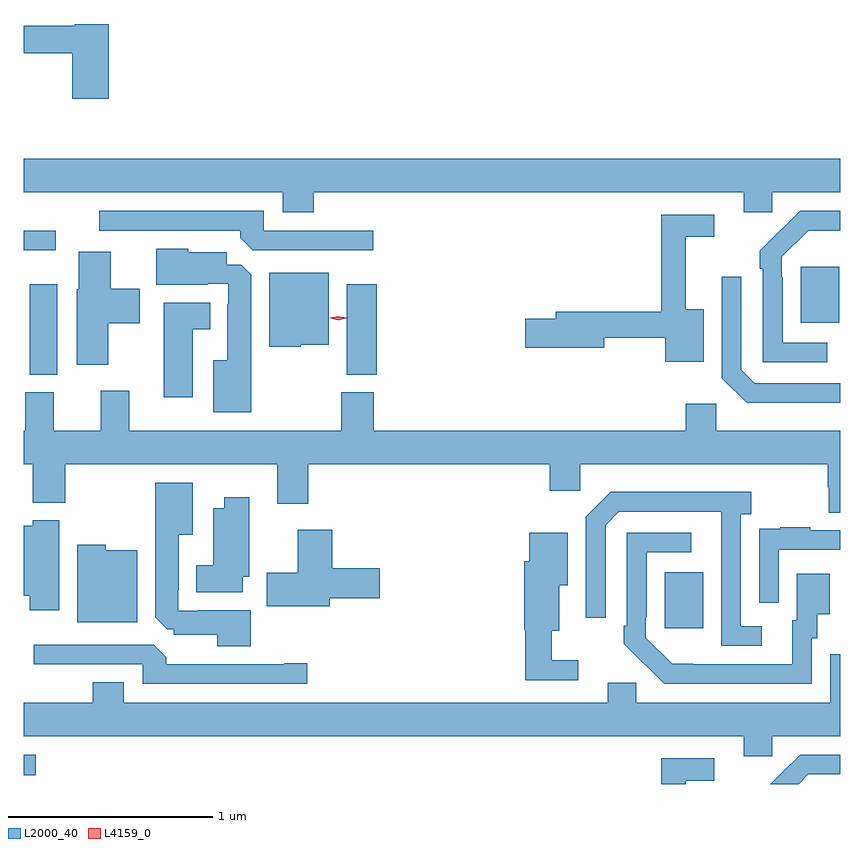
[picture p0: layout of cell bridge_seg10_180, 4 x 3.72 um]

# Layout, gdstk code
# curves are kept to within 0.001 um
import gdstk
lib = gdstk.Library(unit=1e-6, precision=1e-09)
def R(c, l, rs):  # rectangles x0, y0, x1, y1
    for r in rs: c.add(gdstk.rectangle(r[:2], r[2:], *l))
def P(c, l, *ps):  # polygons
    for p in ps: c.add(gdstk.Polygon(p, *l))
L2000_40 = (2000, 40)
L4159_0 = (4159, 0)

bridge_seg10_180 = lib.new_cell('bridge_seg10_180')
R(bridge_seg10_180, L2000_40, [(167.097,1288.135,167.155,1288.236), (170.237,1288.857,170.425,1289.131), (167.126,1290.097,167.26,1290.541), (168.68,1290.097,168.827,1290.541), (170.903,1290.353,171.091,1290.628), (167.097,1290.708,167.254,1290.804)])
P(bridge_seg10_180, L2000_40, [(167.513,1291.816),(167.346,1291.816),(167.346,1291.808),(167.097,1291.808),(167.097,1291.672),(167.335,1291.672),(167.335,1291.449),(167.513,1291.449)],
  [(168.518,1290.992),(170.624,1290.992),(170.624,1290.894),(170.763,1290.894),(170.763,1290.992),(171.097,1290.992),(171.097,1291.156),(167.097,1291.156),(167.097,1290.992),(168.365,1290.992),(168.365,1290.893),(168.518,1290.893)],
  [(168.808,1290.804),(168.273,1290.804),(168.273,1290.9),(167.466,1290.9),(167.466,1290.804),(168.158,1290.804),(168.158,1290.77),(168.219,1290.708),(168.808,1290.708)],
  [(171.034,1290.255),(170.814,1290.255),(170.814,1290.575),(170.811,1290.575),(170.811,1290.675),(170.94,1290.804),(171.097,1290.804),(171.097,1290.9),(170.9,1290.9),(170.703,1290.705),(170.703,1290.617),(170.718,1290.617),(170.718,1290.159),(171.034,1290.159)],
  [(170.428,1290.418),(170.339,1290.418),(170.339,1290.774),(170.479,1290.774),(170.479,1290.882),(170.221,1290.882),(170.221,1290.407),(169.703,1290.407),(169.703,1290.371),(169.554,1290.371),(169.554,1290.229),(169.942,1290.229),(169.942,1290.279),(170.24,1290.279),(170.24,1290.161),(170.428,1290.161)],
  [(168.211,1290.587),(168.162,1290.636),(168.091,1290.636),(168.091,1290.697),(167.904,1290.697),(167.904,1290.715),(167.747,1290.715),(167.747,1290.539),(167.999,1290.539),(167.999,1290.543),(168.099,1290.543),(168.099,1290.443),(168.095,1290.443),(168.095,1290.169),(168.026,1290.169),(168.026,1289.915),(168.211,1289.915)],
  [(167.512,1290.351),(167.665,1290.351),(167.665,1290.52),(167.524,1290.52),(167.524,1290.7),(167.366,1290.7),(167.366,1290.516),(167.357,1290.516),(167.357,1290.147),(167.512,1290.147)],
  [(168.453,1290.245),(168.592,1290.245),(168.592,1290.598),(168.299,1290.598),(168.299,1290.236),(168.453,1290.236)],
  [(171.097,1290.057),(170.679,1290.057),(170.613,1290.123),(170.613,1290.577),(170.517,1290.577),(170.517,1290.081),(170.638,1289.96),(171.097,1289.96)],
  [(167.926,1290.32),(168.01,1290.32),(168.01,1290.451),(167.783,1290.451),(167.783,1289.988),(167.926,1289.988)],
  [(171.097,1289.824),(170.49,1289.824),(170.49,1289.956),(170.339,1289.956),(170.339,1289.824),(168.812,1289.824),(168.812,1290.012),(168.652,1290.012),(168.652,1289.824),(167.614,1289.824),(167.614,1290.019),(167.474,1290.019),(167.474,1289.824),(167.245,1289.824),(167.245,1290.012),(167.105,1290.012),(167.105,1289.824),(167.097,1289.824),(167.097,1289.66),(167.141,1289.66),(167.141,1289.471),(167.301,1289.471),(167.301,1289.66),(168.338,1289.66),(168.338,1289.466),(168.491,1289.466),(168.491,1289.66),(169.673,1289.66),(169.673,1289.529),(169.824,1289.529),(169.824,1289.66),(171.035,1289.66),(171.035,1289.547),(171.04,1289.547),(171.04,1289.422),(171.097,1289.422)],
  [(168.208,1288.945),(167.953,1288.945),(167.953,1288.941),(167.853,1288.941),(167.853,1289.041),(167.857,1289.041),(167.857,1289.315),(167.926,1289.315),(167.926,1289.569),(167.741,1289.569),(167.741,1288.911),(167.801,1288.851),(167.832,1288.851),(167.832,1288.823),(168.044,1288.823),(168.044,1288.769),(168.208,1288.769)],
  [(170.713,1288.866),(170.61,1288.866),(170.61,1289.414),(170.662,1289.414),(170.662,1289.524),(169.972,1289.524),(169.851,1289.403),(169.851,1288.908),(169.947,1288.908),(169.947,1289.361),(170.013,1289.427),(170.513,1289.427),(170.514,1288.77),(170.713,1288.77)],
  [(168.169,1289.108),(168.202,1289.108),(168.202,1289.497),(168.08,1289.497),(168.08,1289.443),(168.026,1289.443),(168.026,1289.164),(167.942,1289.164),(167.942,1289.033),(168.169,1289.033)],
  [(167.272,1289.386),(167.142,1289.386),(167.142,1289.359),(167.097,1289.359),(167.097,1289.015),(167.126,1289.015),(167.126,1288.944),(167.272,1288.944)],
  [(170.796,1289.241),(171.097,1289.241),(171.097,1289.337),(170.951,1289.337),(170.951,1289.35),(170.803,1289.35),(170.803,1289.343),(170.701,1289.343),(170.701,1289.234),(170.7,1289.234),(170.7,1288.98),(170.796,1288.98)],
  [(168.595,1289.003),(168.841,1289.003),(168.841,1289.15),(168.608,1289.15),(168.608,1289.338),(168.44,1289.338),(168.44,1289.127),(168.288,1289.127),(168.288,1288.964),(168.595,1288.964)],
  [(170.958,1288.806),(170.983,1288.806),(170.983,1288.925),(171.046,1288.925),(171.046,1289.122),(170.885,1289.122),(170.885,1288.896),(170.861,1288.896),(170.861,1288.68),(170.274,1288.681),(170.145,1288.809),(170.145,1288.909),(170.148,1288.909),(170.148,1289.229),(170.368,1289.229),(170.368,1289.325),(170.052,1289.325),(170.052,1288.867),(170.037,1288.867),(170.037,1288.779),(170.234,1288.584),(170.958,1288.584)],
  [(169.813,1288.699),(169.684,1288.699),(169.684,1288.844),(169.72,1288.844),(169.72,1289.066),(169.762,1289.066),(169.762,1289.323),(169.574,1289.323),(169.574,1289.184),(169.55,1289.184),(169.55,1288.848),(169.555,1288.848),(169.555,1288.602),(169.813,1288.602)],
  [(167.653,1289.239),(167.499,1289.239),(167.499,1289.266),(167.36,1289.266),(167.36,1288.886),(167.653,1288.886)],
  [(168.487,1288.685),(168.374,1288.685),(168.374,1288.68),(167.795,1288.68),(167.795,1288.714),(167.733,1288.776),(167.145,1288.776),(167.145,1288.68),(167.679,1288.68),(167.679,1288.584),(168.487,1288.584)],
  [(170.763,1288.328),(171.097,1288.328),(171.097,1288.728),(171.047,1288.728),(171.047,1288.492),(170.097,1288.492),(170.097,1288.59),(169.958,1288.59),(169.958,1288.492),(167.587,1288.492),(167.587,1288.591),(167.435,1288.591),(167.435,1288.492),(167.097,1288.492),(167.097,1288.328),(170.624,1288.328),(170.624,1288.23),(170.763,1288.23)],
  [(170.94,1288.14),(171.097,1288.14),(171.097,1288.236),(170.9,1288.236),(170.809,1288.145),(170.808,1288.146),(170.755,1288.093),(170.893,1288.093)],
  [(170.339,1288.11),(170.479,1288.11),(170.479,1288.218),(170.221,1288.218),(170.221,1288.093),(170.339,1288.093)])
P(bridge_seg10_180, L4159_0, [(168.637,1290.365),(168.599,1290.375),(168.598,1290.375),(168.599,1290.376),(168.637,1290.385),(168.676,1290.376),(168.676,1290.375),(168.676,1290.375)])

lib.write_gds('bridge_seg10_180.gds')
